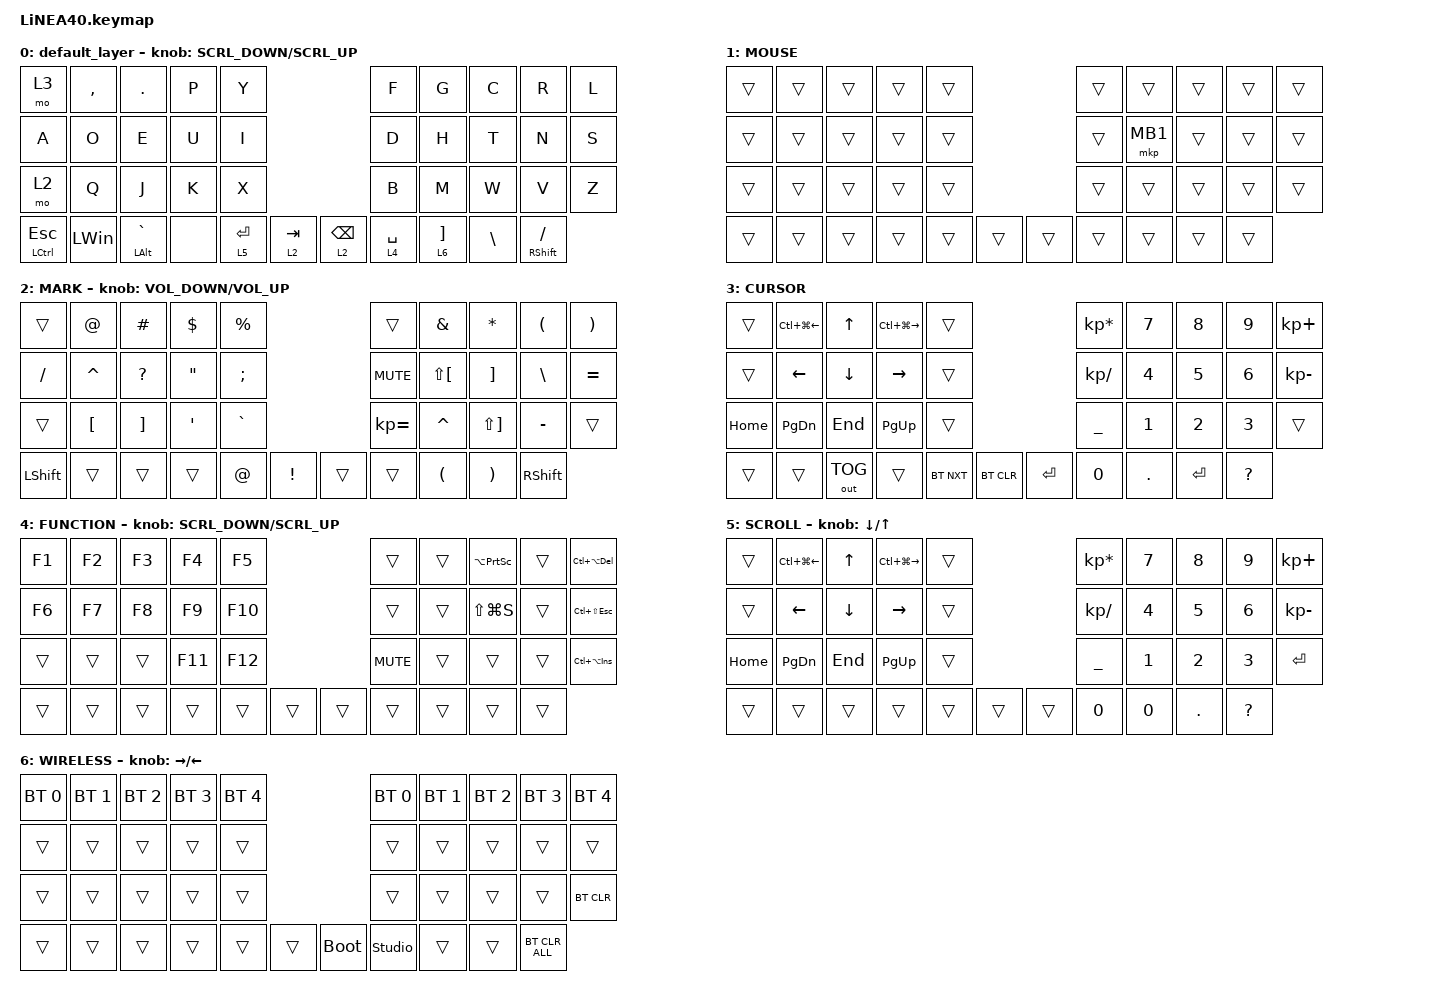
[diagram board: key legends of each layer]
#define ZMK_POINTING_DEFAULT_SCRL_VAL 150

#include <dt-bindings/zmk/input_transform.h>
#include <input/processors.dtsi>
#include <zephyr/dt-bindings/input/input-event-codes.h>
#include <behaviors.dtsi>
#include <dt-bindings/zmk/bt.h>
#include <dt-bindings/zmk/keys.h>
#include <dt-bindings/zmk/outputs.h>
#include <dt-bindings/zmk/pointing.h>

#define MOUSE 1
#define MARK 2
#define CURSOR 3
#define FUNCTION 4
#define SCROLL 5
#define WIRELESS 6

//mouse cursol

&mmv {
    delay-ms = <20>;
    trigger-period-ms = <5>;
    time-to-max-speed-ms = <100>;
    acceleration-exponent = <2>;
};

//mouse scroll

&msc {
    delay-ms = <3>;
    trigger-period-ms = <3>;
    time-to-max-speed-ms = <100>;
    acceleration-exponent = <0>;
};

/ {
    input_processors {
        zip_wheel_scaler: zip_wheel_scaler {
            compatible = "zmk,input-processor-scaler";
            #input-processor-cells = <2>;
            type = <INPUT_EV_REL>;
            codes = <INPUT_REL_WHEEL>;
            track-remainders;
        };
    };
};

&msc_input_listener {
    speed_up {
        layers = <FUNCTION>;
        input-processors = <&zip_wheel_scaler 3 1>; //スクロールを3倍速にする
    };
};

&trackball_listener {
    scroller {
        layers = <SCROLL>;
        input-processors =
            <&zip_xy_transform INPUT_TRANSFORM_Y_INVERT>,
            //スクロール方向を逆転,,,,,,,,,,,,,,,,,,,
            <&zip_xy_to_scroll_mapper>;
    };
};

/ {
    combos {
        compatible = "zmk,combos";

        Kana {
            bindings = <&kp LANG1>;
            key-positions = <11 12>;
        };

        Eisu {
            bindings = <&kp LANG2>;
            key-positions = <12 13>;
        };

        Delete {
            bindings = <&kp DELETE>;
            key-positions = <7 8>;
        };

        InsertKey {
            bindings = <&kp INS>;
            key-positions = <6 7>;
        };

        CenterClick {
            bindings = <&mkp MB3>;
            key-positions = <17 16>;
        };

        RightClick {
            bindings = <&mkp MB2>;
            key-positions = <18 17>;
        };

        PrevClick {
            bindings = <&mkp MB4>;
            key-positions = <27 28>;
        };

        ClickNext {
            bindings = <&mkp MB5>;
            key-positions = <26 27>;
        };
    };

    behaviors {
        re_kp: sensor_rotate_kp {
            compatible = "zmk,behavior-sensor-rotate-var";
            #sensor-binding-cells = <2>;
            bindings = <&kp>, <&kp>;
        };

        mouse_scrl: mouse_wheel_scrl {
            compatible = "zmk,behavior-sensor-rotate-var";
            #sensor-binding-cells = <2>;
            bindings = <&msc>, <&msc>;

            tap-ms = <20>;
        };
    };

    macros {
        one: new_macro {
            compatible = "zmk,behavior-macro";
            #binding-cells = <0>;
            bindings = <&none>;
            label = "NEW_MACRO";
        };
    };

    keymap {
        compatible = "zmk,keymap";

        default_layer {
            bindings = <
&mo 3          &kp COMMA     &kp DOT             &kp P  &kp Y                                      &kp F        &kp G  &kp C                &kp R          &kp L
&kp A          &kp O         &kp E               &kp U  &kp I                                      &kp D        &kp H  &kp T                &kp N          &kp S
&mo 2          &kp Q         &kp J               &kp K  &kp X                                      &kp B        &kp M  &kp W                &kp V          &kp Z
&mt LCTRL ESC  &kp LEFT_WIN  &mt LEFT_ALT GRAVE  &none  &lt 5 ENTER  &lt 2 TAB    &lt 2 BACKSPACE  &lt 4 SPACE         &lt 6 RIGHT_BRACKET  &kp BACKSLASH  &mt RIGHT_SHIFT SLASH
            >;

            sensor-bindings = <&mouse_scrl SCRL_DOWN SCRL_UP>;
        };

        MOUSE {
            bindings = <
&trans  &trans  &trans  &trans  &trans                    &trans  &trans    &trans  &trans  &trans
&trans  &trans  &trans  &trans  &trans                    &trans  &mkp MB1  &trans  &trans  &trans
&trans  &trans  &trans  &trans  &trans                    &trans  &trans    &trans  &trans  &trans
&trans  &trans  &trans  &trans  &trans  &trans    &trans  &trans            &trans  &trans  &trans
            >;
        };

        MARK {
            bindings = <
&trans          &kp AT            &kp HASH           &kp DOLLAR         &kp PERCENT                               &trans        &kp AMPERSAND  &kp ASTERISK           &kp LEFT_PARENTHESIS   &kp RIGHT_PARENTHESIS
&kp SLASH       &kp CARET         &kp QUESTION       &kp DOUBLE_QUOTES  &kp SEMICOLON                             &kp C_MUTE    &kp LS(LBKT)   &kp RIGHT_BRACKET      &kp BACKSLASH          &kp EQUAL
&trans          &kp LEFT_BRACKET  &kp RIGHT_BRACKET  &kp APOS           &kp GRAVE                                 &kp KP_EQUAL  &kp CARET      &kp LS(RIGHT_BRACKET)  &kp MINUS              &trans
&kp LEFT_SHIFT  &trans            &trans             &trans             &kp AT         &kp EXCLAMATION    &trans  &trans                       &kp LEFT_PARENTHESIS   &kp RIGHT_PARENTHESIS  &kp RIGHT_SHIFT
            >;

            sensor-bindings = <&re_kp C_VOLUME_DOWN C_VOLUME_UP>;
        };

        CURSOR {
            bindings = <
&trans    &kp LC(LG(LEFT_ARROW))  &kp UP_ARROW  &kp LC(LG(RIGHT_ARROW))  &trans                               &kp KP_MULTIPLY  &kp NUMBER_7  &kp NUMBER_8  &kp NUMBER_9  &kp KP_PLUS
&trans    &kp LEFT_ARROW          &kp DOWN      &kp RIGHT_ARROW          &trans                               &kp KP_SLASH     &kp NUMBER_4  &kp NUMBER_5  &kp NUMBER_6  &kp KP_MINUS
&kp HOME  &kp PAGE_DOWN           &kp END       &kp PAGE_UP              &trans                               &kp UNDER        &kp NUMBER_1  &kp NUMBER_2  &kp NUMBER_3  &trans
&trans    &trans                  &out OUT_TOG  &trans                   &bt BT_NXT  &bt BT_CLR    &kp ENTER  &kp NUMBER_0                   &kp DOT       &kp ENTER     &kp QUESTION
            >;
        };

        FUNCTION {
            bindings = <
&kp F1  &kp F2  &kp F3  &kp F4   &kp F5                     &trans      &trans  &kp LA(PRINTSCREEN)  &trans  &kp LC(LA(DELETE))
&kp F6  &kp F7  &kp F8  &kp F9   &kp F10                    &trans      &trans  &kp LS(LG(S))        &trans  &kp LC(LS(ESCAPE))
&trans  &trans  &trans  &kp F11  &kp F12                    &kp C_MUTE  &trans  &trans               &trans  &kp LC(LA(INS))
&trans  &trans  &trans  &trans   &trans   &trans    &trans  &trans              &trans               &trans  &trans
            >;

            sensor-bindings = <&mouse_scrl SCRL_DOWN SCRL_UP>;
        };

        SCROLL {
            bindings = <
&trans    &kp LC(LG(LEFT_ARROW))  &kp UP_ARROW  &kp LC(LG(RIGHT_ARROW))  &trans                    &kp KP_MULTIPLY  &kp NUMBER_7  &kp NUMBER_8  &kp NUMBER_9  &kp KP_PLUS
&trans    &kp LEFT_ARROW          &kp DOWN      &kp RIGHT_ARROW          &trans                    &kp KP_SLASH     &kp NUMBER_4  &kp NUMBER_5  &kp NUMBER_6  &kp KP_MINUS
&kp HOME  &kp PAGE_DOWN           &kp END       &kp PAGE_UP              &trans                    &kp UNDER        &kp NUMBER_1  &kp NUMBER_2  &kp NUMBER_3  &kp ENTER
&trans    &trans                  &trans        &trans                   &trans  &trans    &trans  &kp NUMBER_0                   &kp NUMBER_0  &kp DOT       &kp QUESTION
            >;

            sensor-bindings = <&inc_dec_kp DOWN_ARROW UP_ARROW>;
        };

        WIRELESS {
            bindings = <
&bt BT_SEL 0  &bt BT_SEL 1  &bt BT_SEL 2  &bt BT_SEL 3  &bt BT_SEL 4                         &bt BT_SEL 0    &bt BT_SEL 1  &bt BT_SEL 2  &bt BT_SEL 3  &bt BT_SEL 4
&trans        &trans        &trans        &trans        &trans                               &trans          &trans        &trans        &trans        &trans
&trans        &trans        &trans        &trans        &trans                               &trans          &trans        &trans        &trans        &bt BT_CLR
&trans        &trans        &trans        &trans        &trans        &trans    &bootloader  &studio_unlock                &trans        &trans        &bt BT_CLR_ALL
            >;

            sensor-bindings = <&inc_dec_kp RIGHT_ARROW LEFT_ARROW>;
        };
    };
};
